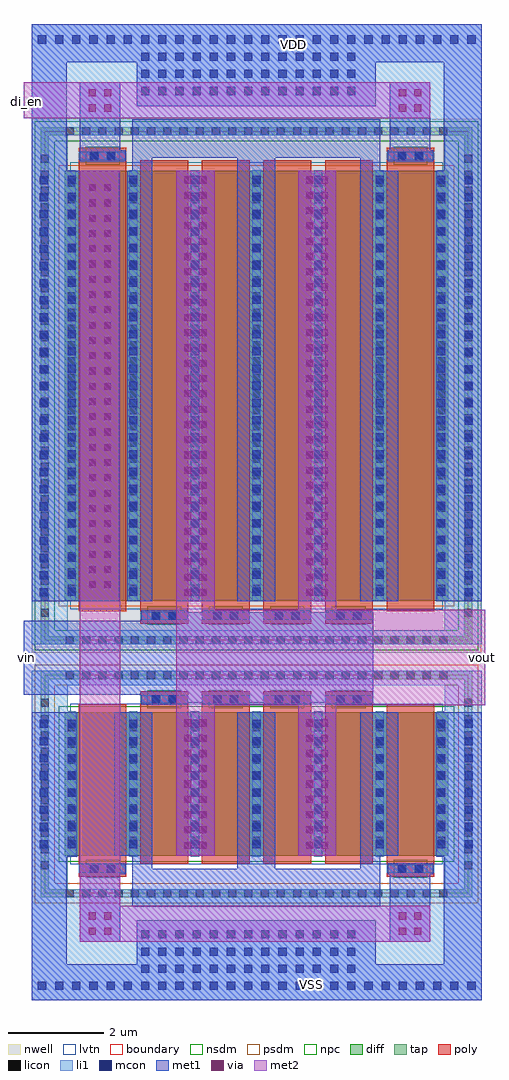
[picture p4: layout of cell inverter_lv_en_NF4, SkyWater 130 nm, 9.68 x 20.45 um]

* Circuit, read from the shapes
.subckt inverter_lv_en_NF4 VDD VSS di_en vin vout
XM1 sky130_fd_pr__nfet_01v8_lvt_XCBGUP_1/S1 VDD VSS VSS sky130_fd_pr__nfet_01v8_lvt w=3 l=1 m=2
XM2 vout vin sky130_fd_pr__nfet_01v8_lvt_XCBGUP_1/S1 VSS sky130_fd_pr__nfet_01v8_lvt w=3 l=1 m=4
XM3 sky130_fd_pr__pfet_01v8_lvt_P4JB26_0/S1 di_en VDD VDD sky130_fd_pr__pfet_01v8_lvt w=9 l=1 m=2
XM4 vout vin sky130_fd_pr__pfet_01v8_lvt_P4JB26_0/S1 VDD sky130_fd_pr__pfet_01v8_lvt w=9 l=1 m=4
.ends

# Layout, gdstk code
import gdstk
lib = gdstk.Library(unit=1e-6, precision=1e-09)
def R(c, l, rs):  # rectangles x0, y0, x1, y1
    for r in rs: c.add(gdstk.rectangle(r[:2], r[2:], *l))
def A(c, l, x, y, w, h, nx, ny, dx, dy):  # array of equal rectangles
    R(c, l, [(x+i*dx, y+j*dy, x+i*dx+w, y+j*dy+h) for i in range(nx) for j in range(ny)])
nwell = (64, 20)
diff = (65, 20)
tap = (65, 44)
poly = (66, 20)
licon = (66, 44)
li1 = (67, 20)
mcon = (67, 44)
met1 = (68, 20)
via = (68, 44)
met2 = (69, 20)
nsdm = (93, 44)
psdm = (94, 20)
npc = (95, 20)
lvtn = (125, 44)
boundary = (235, 4)

sky130_fd_pr__pfet_01v8_ = lib.new_cell('sky130_fd_pr__pfet_01v8_lvt_P4JB26')
R(sky130_fd_pr__pfet_01v8_, nwell, [(-4.705,-5.595,4.705,5.595)])
R(sky130_fd_pr__pfet_01v8_, diff, [(-4.015,-4.5,4.015,4.5)])
R(sky130_fd_pr__pfet_01v8_, tap, [(-4.525,-5.415,4.525,-5.245), (-4.525,-5.245,-4.355,5.245), (4.355,-5.245,4.525,5.245), (-4.525,5.245,4.525,5.415)])
A(sky130_fd_pr__pfet_01v8_, poly, -2.435, -4.985, 1, 9.71, 4, 1, 1.29, 0)
R(sky130_fd_pr__pfet_01v8_, poly, [(-3.725,-4.725,-2.725,4.985), (2.725,-4.725,3.725,4.985)])
A(sky130_fd_pr__pfet_01v8_, licon, -3.995, -5.415, 0.17, 0.17, 24, 2, 0.34, 10.66)
A(sky130_fd_pr__pfet_01v8_, licon, -4.525, -4.845, 0.17, 0.17, 1, 29, 0, 0.34)
A(sky130_fd_pr__pfet_01v8_, licon, 4.355, -4.845, 0.17, 0.17, 1, 29, 0, 0.34)
A(sky130_fd_pr__pfet_01v8_, licon, -3.955, -4.335, 0.17, 0.17, 7, 26, 1.29, 0.34)
R(sky130_fd_pr__pfet_01v8_, licon, [(-2.19,-4.905,-2.02,-4.735), (-1.85,-4.905,-1.68,-4.735), (-0.9,-4.905,-0.73,-4.735), (-0.56,-4.905,-0.39,-4.735), (0.39,-4.905,0.56,-4.735), (0.73,-4.905,0.9,-4.735), (1.68,-4.905,1.85,-4.735), (2.02,-4.905,2.19,-4.735), (-3.48,4.735,-3.31,4.905), (-3.14,4.735,-2.97,4.905), (2.97,4.735,3.14,4.905), (3.31,4.735,3.48,4.905)])
A(sky130_fd_pr__pfet_01v8_, li1, -2.435, -4.905, 1, 0.17, 4, 1, 1.29, 0)
A(sky130_fd_pr__pfet_01v8_, li1, -3.955, -4.52, 0.17, 9.04, 7, 1, 1.29, 0)
R(sky130_fd_pr__pfet_01v8_, li1, [(-4.525,-5.415,4.525,-5.245), (-4.525,-5.245,-4.355,5.245), (4.355,-5.245,4.525,5.245), (-3.725,4.735,-2.725,4.905), (2.725,4.735,3.725,4.905), (-4.525,5.245,4.525,5.415)])
A(sky130_fd_pr__pfet_01v8_, mcon, -3.955, -4.405, 0.17, 0.17, 7, 25, 1.29, 0.36)
R(sky130_fd_pr__pfet_01v8_, mcon, [(-2.2,-4.905,-2.03,-4.735), (-1.84,-4.905,-1.67,-4.735), (-0.91,-4.905,-0.74,-4.735), (-0.55,-4.905,-0.38,-4.735), (0.38,-4.905,0.55,-4.735), (0.74,-4.905,0.91,-4.735), (1.67,-4.905,1.84,-4.735), (2.03,-4.905,2.2,-4.735), (-3.49,4.735,-3.32,4.905), (-3.13,4.735,-2.96,4.905), (2.96,4.735,3.13,4.905), (3.32,4.735,3.49,4.905)])
A(sky130_fd_pr__pfet_01v8_, met1, -2.415, -4.935, 0.96, 0.23, 4, 1, 1.29, 0)
A(sky130_fd_pr__pfet_01v8_, met1, -3.985, -4.5, 0.23, 9, 7, 1, 1.29, 0)
R(sky130_fd_pr__pfet_01v8_, met1, [(-3.705,4.705,-2.745,4.935), (2.745,4.705,3.705,4.935)])
R(sky130_fd_pr__pfet_01v8_, nsdm, [(-4.65,-5.54,4.65,-5.12), (-4.65,-5.12,-4.23,5.12), (4.23,-5.12,4.65,5.12), (-4.65,5.12,4.65,5.54)])
R(sky130_fd_pr__pfet_01v8_, psdm, [(-4.14,-4.625,4.14,4.625)])
A(sky130_fd_pr__pfet_01v8_, npc, -2.29, -5.005, 0.71, 0.37, 4, 1, 1.29, 0)
R(sky130_fd_pr__pfet_01v8_, npc, [(-3.58,4.635,-2.87,5.005), (2.87,4.635,3.58,5.005)])
R(sky130_fd_pr__pfet_01v8_, lvtn, [(-3.905,-4.68,3.905,4.68)])
R(sky130_fd_pr__pfet_01v8_, boundary, [(-4.44,-5.33,4.44,5.33)])
sky130_fd_pr__pfet_01v8_.add(gdstk.Label('B', (0,-5.33), layer=67, texttype=5))
sky130_fd_pr__pfet_01v8_.add(gdstk.Label('D0', (-3.87,0), layer=67, texttype=5))
sky130_fd_pr__pfet_01v8_.add(gdstk.Label('G0', (-3.225,4.82), layer=67, texttype=5))
sky130_fd_pr__pfet_01v8_.add(gdstk.Label('S1', (-2.58,0), layer=67, texttype=5))
sky130_fd_pr__pfet_01v8_.add(gdstk.Label('D2', (-1.29,0), layer=67, texttype=5))
sky130_fd_pr__pfet_01v8_.add(gdstk.Label('S3', (0,0), layer=67, texttype=5))
sky130_fd_pr__pfet_01v8_.add(gdstk.Label('D4', (1.29,0), layer=67, texttype=5))
sky130_fd_pr__pfet_01v8_.add(gdstk.Label('S5', (2.58,0), layer=67, texttype=5))
sky130_fd_pr__pfet_01v8_.add(gdstk.Label('G5', (3.225,4.82), layer=67, texttype=5))

sky130_fd_pr__nfet_01v8_ = lib.new_cell('sky130_fd_pr__nfet_01v8_lvt_XCBGUP')
R(sky130_fd_pr__nfet_01v8_, diff, [(-4.015,-1.5,4.015,1.5)])
R(sky130_fd_pr__nfet_01v8_, tap, [(-4.525,-2.37,4.525,-2.2), (-4.525,-2.2,-4.355,2.2), (4.355,-2.2,4.525,2.2), (-4.525,2.2,4.525,2.37)])
A(sky130_fd_pr__nfet_01v8_, poly, -2.435, -1.675, 1, 3.615, 4, 1, 1.29, 0)
R(sky130_fd_pr__nfet_01v8_, poly, [(-3.725,-1.94,-2.725,1.675), (2.725,-1.94,3.725,1.675)])
A(sky130_fd_pr__nfet_01v8_, licon, -3.995, -2.37, 0.17, 0.17, 24, 2, 0.34, 4.57)
A(sky130_fd_pr__nfet_01v8_, licon, -4.525, -1.785, 0.17, 0.17, 1, 11, 0, 0.34)
A(sky130_fd_pr__nfet_01v8_, licon, 4.355, -1.785, 0.17, 0.17, 1, 11, 0, 0.34)
A(sky130_fd_pr__nfet_01v8_, licon, -3.955, -1.275, 0.17, 0.17, 7, 8, 1.29, 0.34)
R(sky130_fd_pr__nfet_01v8_, licon, [(-3.48,-1.86,-3.31,-1.69), (-3.14,-1.86,-2.97,-1.69), (2.97,-1.86,3.14,-1.69), (3.31,-1.86,3.48,-1.69), (-2.19,1.69,-2.02,1.86), (-1.85,1.69,-1.68,1.86), (-0.9,1.69,-0.73,1.86), (-0.56,1.69,-0.39,1.86), (0.39,1.69,0.56,1.86), (0.73,1.69,0.9,1.86), (1.68,1.69,1.85,1.86), (2.02,1.69,2.19,1.86)])
A(sky130_fd_pr__nfet_01v8_, li1, -3.955, -1.52, 0.17, 3.04, 7, 1, 1.29, 0)
A(sky130_fd_pr__nfet_01v8_, li1, -2.435, 1.69, 1, 0.17, 4, 1, 1.29, 0)
R(sky130_fd_pr__nfet_01v8_, li1, [(-4.525,-2.37,4.525,-2.2), (-4.525,-2.2,-4.355,2.2), (4.355,-2.2,4.525,2.2), (-3.725,-1.86,-2.725,-1.69), (2.725,-1.86,3.725,-1.69), (-4.525,2.2,4.525,2.37)])
A(sky130_fd_pr__nfet_01v8_, mcon, -3.955, -1.345, 0.17, 0.17, 7, 8, 1.29, 0.36)
R(sky130_fd_pr__nfet_01v8_, mcon, [(-3.49,-1.86,-3.32,-1.69), (-3.13,-1.86,-2.96,-1.69), (2.96,-1.86,3.13,-1.69), (3.32,-1.86,3.49,-1.69), (-2.2,1.69,-2.03,1.86), (-1.84,1.69,-1.67,1.86), (-0.91,1.69,-0.74,1.86), (-0.55,1.69,-0.38,1.86), (0.38,1.69,0.55,1.86), (0.74,1.69,0.91,1.86), (1.67,1.69,1.84,1.86), (2.03,1.69,2.2,1.86)])
A(sky130_fd_pr__nfet_01v8_, met1, -3.985, -1.5, 0.23, 3, 7, 1, 1.29, 0)
A(sky130_fd_pr__nfet_01v8_, met1, -2.415, 1.66, 0.96, 0.23, 4, 1, 1.29, 0)
R(sky130_fd_pr__nfet_01v8_, met1, [(-3.705,-1.89,-2.745,-1.66), (2.745,-1.89,3.705,-1.66)])
R(sky130_fd_pr__nfet_01v8_, nsdm, [(-4.14,-1.625,4.14,1.625)])
R(sky130_fd_pr__nfet_01v8_, psdm, [(-4.65,-2.495,4.65,-2.075), (-4.65,-2.075,-4.23,2.075), (4.23,-2.075,4.65,2.075), (-4.65,2.075,4.65,2.495)])
A(sky130_fd_pr__nfet_01v8_, npc, -2.29, 1.59, 0.71, 0.37, 4, 1, 1.29, 0)
R(sky130_fd_pr__nfet_01v8_, npc, [(-3.58,-1.96,-2.87,-1.59), (2.87,-1.96,3.58,-1.59)])
R(sky130_fd_pr__nfet_01v8_, lvtn, [(-3.905,-1.68,3.905,1.68)])
R(sky130_fd_pr__nfet_01v8_, boundary, [(-4.44,-2.285,4.44,2.285)])
sky130_fd_pr__nfet_01v8_.add(gdstk.Label('B', (0,-2.285), layer=67, texttype=5))
sky130_fd_pr__nfet_01v8_.add(gdstk.Label('D0', (-3.87,0), layer=67, texttype=5))
sky130_fd_pr__nfet_01v8_.add(gdstk.Label('S1', (-2.58,0), layer=67, texttype=5))
sky130_fd_pr__nfet_01v8_.add(gdstk.Label('G1', (-1.935,1.775), layer=67, texttype=5))
sky130_fd_pr__nfet_01v8_.add(gdstk.Label('D2', (-1.29,0), layer=67, texttype=5))
sky130_fd_pr__nfet_01v8_.add(gdstk.Label('G2', (-0.645,1.775), layer=67, texttype=5))
sky130_fd_pr__nfet_01v8_.add(gdstk.Label('S3', (0,0), layer=67, texttype=5))
sky130_fd_pr__nfet_01v8_.add(gdstk.Label('G3', (0.645,1.775), layer=67, texttype=5))
sky130_fd_pr__nfet_01v8_.add(gdstk.Label('D4', (1.29,0), layer=67, texttype=5))
sky130_fd_pr__nfet_01v8_.add(gdstk.Label('G4', (1.935,1.775), layer=67, texttype=5))
sky130_fd_pr__nfet_01v8_.add(gdstk.Label('S5', (2.58,0), layer=67, texttype=5))

inverter_lv_en_nf4 = lib.new_cell('inverter_lv_en_NF4')
R(inverter_lv_en_nf4, li1, [(-0.65,3.025,8.775,5.35), (-0.65,5.35,0.1,9.625), (8,5.35,8.775,9.625), (-0.65,9.625,8.775,9.925), (-0.65,10.475,0.1,10.65), (8,10.475,8.775,10.65), (-0.65,10.65,8.775,10.775), (-0.65,10.775,0.1,21.15), (8,10.775,8.775,21.15), (-0.65,21.15,8.775,23.475)])
A(inverter_lv_en_nf4, mcon, -0.525, 3.235, 0.17, 0.17, 26, 2, 0.36, 19.83)
A(inverter_lv_en_nf4, mcon, 1.635, 3.595, 0.17, 0.17, 13, 3, 0.36, 0.36)
A(inverter_lv_en_nf4, mcon, -0.485, 6.205, 0.17, 0.17, 1, 8, 0, 0.36)
A(inverter_lv_en_nf4, mcon, 8.415, 6.205, 0.17, 0.17, 1, 8, 0, 0.36)
A(inverter_lv_en_nf4, mcon, -0.485, 11.48, 0.17, 0.17, 1, 25, 0, 0.36)
A(inverter_lv_en_nf4, mcon, 8.415, 11.48, 0.17, 0.17, 1, 25, 0, 0.36)
A(inverter_lv_en_nf4, mcon, 1.635, 21.985, 0.17, 0.17, 13, 3, 0.36, 0.36)
R(inverter_lv_en_nf4, met1, [(-0.65,3.025,8.775,3.775), (-0.65,3.775,0.075,6.025), (1.55,3.775,6.55,4.7), (7.975,3.775,8.775,6.025), (0.35,4.25,1.2,5.85), (6.85,4.25,7.7,5.85), (1.45,4.975,6.65,5.775), (1.45,5.775,1.875,6.05), (3.65,5.775,4.45,9.05), (6.225,5.775,6.65,6.05), (-0.65,6.025,0.3,6.075), (7.825,6.025,8.775,6.075), (1.075,6.05,1.875,9.05), (2.375,6.05,3.175,9.05), (4.925,6.05,5.725,9.05), (6.225,6.05,7.025,9.05), (-0.65,6.075,0.275,9.05), (7.85,6.075,8.775,9.05), (1.65,9.25,6.5,9.425), (-0.825,9.425,6.5,10.975), (1.65,10.975,6.5,11.15), (-0.65,11.375,1.175,20.4), (1.35,11.375,1.875,20.4), (2.375,11.375,3.175,20.4), (3.65,11.375,4.45,20.675), (4.925,11.375,5.725,20.4), (6.225,11.375,7.025,20.4), (7.825,11.375,8.775,11.4), (7.85,11.4,8.775,20.4), (-0.65,20.4,0.075,22.675), (1.45,20.4,1.875,20.675), (6.225,20.4,6.65,20.675), (7.975,20.4,8.775,22.675), (0.35,20.65,1.2,22.25), (6.85,20.65,7.7,22.25), (1.45,20.675,6.65,21.475), (1.55,21.75,6.55,22.675), (-0.65,22.675,8.775,23.475)])
A(inverter_lv_en_nf4, via, 2.54, 6.195, 0.15, 0.15, 1, 9, 0, 0.32)
A(inverter_lv_en_nf4, via, 2.86, 6.195, 0.15, 0.15, 1, 9, 0, 0.32)
A(inverter_lv_en_nf4, via, 5.09, 6.195, 0.15, 0.15, 1, 9, 0, 0.32)
A(inverter_lv_en_nf4, via, 5.41, 6.195, 0.15, 0.15, 1, 9, 0, 0.32)
A(inverter_lv_en_nf4, via, 2.54, 11.49, 0.15, 0.15, 1, 28, 0, 0.32)
A(inverter_lv_en_nf4, via, 2.86, 11.49, 0.15, 0.15, 1, 28, 0, 0.32)
A(inverter_lv_en_nf4, via, 5.09, 11.49, 0.15, 0.15, 1, 28, 0, 0.32)
A(inverter_lv_en_nf4, via, 5.41, 11.49, 0.15, 0.15, 1, 28, 0, 0.32)
A(inverter_lv_en_nf4, via, 0.54, 11.65, 0.15, 0.15, 1, 27, 0, 0.32)
A(inverter_lv_en_nf4, via, 0.86, 11.65, 0.15, 0.15, 1, 27, 0, 0.32)
R(inverter_lv_en_nf4, via, [(0.54,4.39,0.69,4.54), (0.86,4.39,1.01,4.54), (7.04,4.39,7.19,4.54), (7.36,4.39,7.51,4.54), (0.54,4.71,0.69,4.86), (0.86,4.71,1.01,4.86), (7.04,4.71,7.19,4.86), (7.36,4.71,7.51,4.86), (0.54,21.64,0.69,21.79), (0.86,21.64,1.01,21.79), (7.04,21.64,7.19,21.79), (7.36,21.64,7.51,21.79), (0.54,21.96,0.69,22.11), (0.86,21.96,1.01,22.11), (7.04,21.96,7.19,22.11), (7.36,21.96,7.51,22.11)])
R(inverter_lv_en_nf4, met2, [(0.35,4.25,7.7,5), (0.35,5,1.2,20.4), (2.375,6.05,3.175,9.2), (4.925,6.05,5.725,9.2), (2.375,9.2,8.85,11.2), (2.375,11.2,3.175,20.4), (4.925,11.2,5.725,20.4), (-0.825,21.5,7.7,22.25)])
inverter_lv_en_nf4.add(gdstk.Reference(sky130_fd_pr__pfet_01v8_, (4.055,15.895)))
inverter_lv_en_nf4.add(gdstk.Reference(sky130_fd_pr__nfet_01v8_, (4.055,7.55)))
inverter_lv_en_nf4.add(gdstk.Label('di_en', (-0.775,21.85), layer=69, texttype=5))
inverter_lv_en_nf4.add(gdstk.Label('VSS', (5.2,3.35), layer=68, texttype=5))
inverter_lv_en_nf4.add(gdstk.Label('VDD', (4.825,23.05), layer=68, texttype=5))
inverter_lv_en_nf4.add(gdstk.Label('vin', (-0.775,10.2), layer=68, texttype=5))
inverter_lv_en_nf4.add(gdstk.Label('vout', (8.8,10.2), layer=69, texttype=5))

lib.write_gds('inverter_lv_en_NF4.gds')
